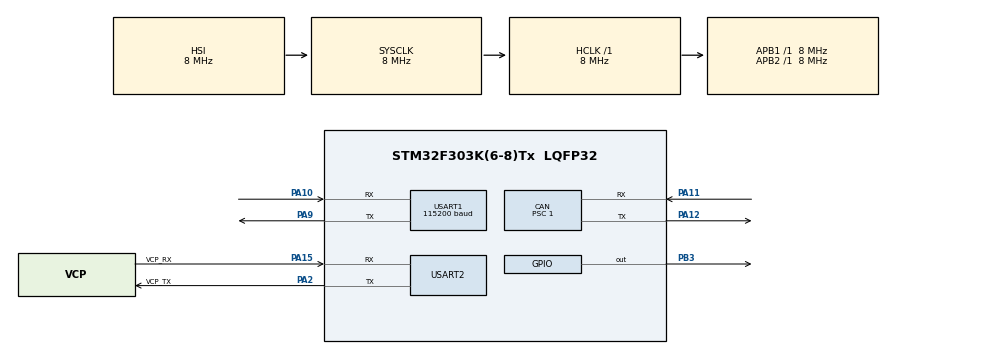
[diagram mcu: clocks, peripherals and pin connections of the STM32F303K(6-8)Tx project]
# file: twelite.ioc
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CAN.ABOM=ENABLE
CAN.BS1=CAN_BS1_5TQ
CAN.BS2=CAN_BS2_2TQ
CAN.CalculateBaudRate=1000000
CAN.CalculateTimeBit=1000
CAN.CalculateTimeQuantum=125.0
CAN.NART=ENABLE
CAN.Prescaler=1
Mcu.Family=STM32F3
Mcu.Name=STM32F303K(6-8)Tx
Mcu.Package=LQFP32
NVIC.CAN_RX0_IRQn=true\:0\:0\:false\:false\:true\:true\:true\:true
NVIC.PriorityGroup=NVIC_PRIORITYGROUP_4
NVIC.USART1_IRQn=true\:0\:0\:false\:false\:true\:true\:true\:true
NVIC.USART2_IRQn=true\:0\:0\:false\:false\:true\:true\:true\:true
PA10.Mode=Asynchronous
PA10.Signal=USART1_RX
PA11.Mode=CAN_Activate
PA11.Signal=CAN_RX
PA12.Mode=CAN_Activate
PA12.Signal=CAN_TX
PA13.GPIO_Label=SWDIO
PA13.Mode=Serial_Wire
PA13.Signal=SYS_JTMS-SWDIO
PA14.GPIO_Label=SWCLK
PA14.Mode=Serial_Wire
PA14.Signal=SYS_JTCK-SWCLK
PA15.GPIO_Label=VCP_RX
PA15.Mode=Asynchronous
PA15.Signal=USART2_RX
PA2.GPIO_Label=VCP_TX
PA2.Mode=Asynchronous
PA2.Signal=USART2_TX
PA9.Mode=Asynchronous
PA9.Signal=USART1_TX
PB3.Signal=GPIO_Output
PF0\ /\ OSC_IN.GPIO_Label=MCO
PF0\ /\ OSC_IN.Mode=HSE-External-Clock-Source
PF0\ /\ OSC_IN.Signal=RCC_OSC_IN
ProjectManager.HeapSize=0x200
ProjectManager.StackSize=0x400
ProjectManager.TargetToolchain=STM32CubeIDE
RCC.AHBFreq_Value=8000000
RCC.APB1Freq_Value=8000000
RCC.APB2Freq_Value=8000000
RCC.CortexFreq_Value=8000000
RCC.HSE_VALUE=8000000
RCC.HSI_VALUE=8000000
RCC.SYSCLKFreq_VALUE=8000000
USART1.BaudRate=115200
USART1.VirtualMode-Asynchronous=VM_ASYNC
USART2.VirtualMode-Asynchronous=VM_ASYNC
board=NUCLEO-F303K8

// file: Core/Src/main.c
/* USER CODE BEGIN Header */
/**
  ******************************************************************************
  * @file           : main.c
  * @brief          : Main program body
  ******************************************************************************
  * @attention
  *
  * Copyright (c) 2026 STMicroelectronics.
  * All rights reserved.
  *
  * This software is licensed under terms that can be found in the LICENSE file
  * in the root directory of this software component.
  * If no LICENSE file comes with this software, it is provided AS-IS.
  *
  ******************************************************************************
  */
/* USER CODE END Header */
#include "main.h"

/* USER CODE BEGIN Includes */
#include <stdio.h>
/* USER CODE END Includes */

CAN_HandleTypeDef hcan;

UART_HandleTypeDef huart1;
UART_HandleTypeDef huart2;

/* USER CODE BEGIN PV */
uint8_t joyX;
uint8_t joyY;
int pre_transmit;
int pre_loop = 0;
uint8_t rx_data;
/* USER CODE END PV */

void SystemClock_Config(void);
static void MX_GPIO_Init(void);
static void MX_USART2_UART_Init(void);
static void MX_USART1_UART_Init(void);
static void MX_CAN_Init(void);

/* USER CODE BEGIN 0 */
void HAL_UART_RxCpltCallback(UART_HandleTypeDef *huart) { //コールバック関数
	if (huart->Instance == USART1) { //受け取った宛名がUART1向けか確認
	        static uint8_t state = 0; // 0:ヘッダー待ち, 1:データ待ち

	                if (rx_data == 0x25) {
	                    state = 1; /* Reset to X-wait state immediately */
	                }
	                else if (state == 1) {
	                    joyX = rx_data;
	                    state = 2; /* Move to Y-wait */
	                }
	                else if (state == 2) {
	                    joyY = rx_data;
	                    state = 0; /* Packet complete, back to header-wait */
	                }

	        // 次の1バイトを待機
	        HAL_UART_Receive_IT(&huart1, &rx_data, 1);
	    }
}

int transmit(){
    CAN_TxHeaderTypeDef TxHeader;
    uint32_t TxMailbox;
    uint8_t TxData[8] = {0};

    if( 0 < HAL_CAN_GetTxMailboxesFreeLevel(&hcan) && HAL_GetTick() - pre_transmit >= 30 ){

        TxHeader.StdId = 0x100;
        TxHeader.RTR = CAN_RTR_DATA;
        TxHeader.IDE = CAN_ID_STD;
        TxHeader.DLC = 8;
        TxHeader.TransmitGlobalTime = DISABLE;

        TxData[0] = joyX;
        TxData[1] = joyY;
        for(int i=2; i<8; i++) TxData[i] = 0;

        if(HAL_CAN_AddTxMessage(&hcan, &TxHeader, TxData, &TxMailbox) != HAL_OK){
        	return -1;
        }
    	HAL_GPIO_TogglePin(GPIOB, GPIO_PIN_3);
        pre_transmit = HAL_GetTick();
    }
    return 0;
}
/* USER CODE END 0 */

int main(void)
{

  /* MCU Configuration--------------------------------------------------------*/

  /* Reset of all peripherals, Initializes the Flash interface and the Systick. */
  HAL_Init();

  /* Configure the system clock */
  SystemClock_Config();

  /* Initialize all configured peripherals */
  MX_GPIO_Init();
  MX_USART2_UART_Init();
  MX_USART1_UART_Init();
  MX_CAN_Init();
  /* USER CODE BEGIN 2 */
  HAL_UART_Receive_IT(&huart1, &rx_data, 1);
  HAL_CAN_Start(&hcan);
  /* USER CODE END 2 */

  /* Infinite loop */
  /* USER CODE BEGIN WHILE */
  while (1)
  {

	  if(HAL_GetTick() - pre_loop > 50){
	  transmit();
	  static char buff[128];
	  int size = snprintf(buff, sizeof(buff), "joyX:%4d joyY:%4d \n\r" ,joyX,joyY);
	  HAL_UART_Transmit_IT(&huart2, (uint8_t*)buff, size);
	  pre_loop = HAL_GetTick();
	  }
    /* USER CODE END WHILE */

  }
}

void SystemClock_Config(void)
{
  RCC_OscInitTypeDef RCC_OscInitStruct = {0};
  RCC_ClkInitTypeDef RCC_ClkInitStruct = {0};
  RCC_PeriphCLKInitTypeDef PeriphClkInit = {0};

  /** Initializes the RCC Oscillators according to the specified parameters
  * in the RCC_OscInitTypeDef structure.
  */
  RCC_OscInitStruct.OscillatorType = RCC_OSCILLATORTYPE_HSI;
  RCC_OscInitStruct.HSIState = RCC_HSI_ON;
  RCC_OscInitStruct.HSICalibrationValue = RCC_HSICALIBRATION_DEFAULT;
  RCC_OscInitStruct.PLL.PLLState = RCC_PLL_NONE;
  if (HAL_RCC_OscConfig(&RCC_OscInitStruct) != HAL_OK)
  {
    Error_Handler();
  }

  /** Initializes the CPU, AHB and APB buses clocks
  */
  RCC_ClkInitStruct.ClockType = RCC_CLOCKTYPE_HCLK|RCC_CLOCKTYPE_SYSCLK
                              |RCC_CLOCKTYPE_PCLK1|RCC_CLOCKTYPE_PCLK2;
  RCC_ClkInitStruct.SYSCLKSource = RCC_SYSCLKSOURCE_HSI;
  RCC_ClkInitStruct.AHBCLKDivider = RCC_SYSCLK_DIV1;
  RCC_ClkInitStruct.APB1CLKDivider = RCC_HCLK_DIV1;
  RCC_ClkInitStruct.APB2CLKDivider = RCC_HCLK_DIV1;

  if (HAL_RCC_ClockConfig(&RCC_ClkInitStruct, FLASH_LATENCY_0) != HAL_OK)
  {
    Error_Handler();
  }
  PeriphClkInit.PeriphClockSelection = RCC_PERIPHCLK_USART1;
  PeriphClkInit.Usart1ClockSelection = RCC_USART1CLKSOURCE_PCLK1;
  if (HAL_RCCEx_PeriphCLKConfig(&PeriphClkInit) != HAL_OK)
  {
    Error_Handler();
  }
}

static void MX_CAN_Init(void)
{

  hcan.Instance = CAN;
  hcan.Init.Prescaler = 1;
  hcan.Init.Mode = CAN_MODE_NORMAL;
  hcan.Init.SyncJumpWidth = CAN_SJW_1TQ;
  hcan.Init.TimeSeg1 = CAN_BS1_5TQ;
  hcan.Init.TimeSeg2 = CAN_BS2_2TQ;
  hcan.Init.TimeTriggeredMode = DISABLE;
  hcan.Init.AutoBusOff = ENABLE;
  hcan.Init.AutoWakeUp = DISABLE;
  hcan.Init.AutoRetransmission = ENABLE;
  hcan.Init.ReceiveFifoLocked = DISABLE;
  hcan.Init.TransmitFifoPriority = DISABLE;
  if (HAL_CAN_Init(&hcan) != HAL_OK)
  {
    Error_Handler();
  }

}

static void MX_USART1_UART_Init(void)
{

  huart1.Instance = USART1;
  huart1.Init.BaudRate = 115200;
  huart1.Init.WordLength = UART_WORDLENGTH_8B;
  huart1.Init.StopBits = UART_STOPBITS_1;
  huart1.Init.Parity = UART_PARITY_NONE;
  huart1.Init.Mode = UART_MODE_TX_RX;
  huart1.Init.HwFlowCtl = UART_HWCONTROL_NONE;
  huart1.Init.OverSampling = UART_OVERSAMPLING_16;
  huart1.Init.OneBitSampling = UART_ONE_BIT_SAMPLE_DISABLE;
  huart1.AdvancedInit.AdvFeatureInit = UART_ADVFEATURE_NO_INIT;
  if (HAL_UART_Init(&huart1) != HAL_OK)
  {
    Error_Handler();
  }

}

static void MX_USART2_UART_Init(void)
{

  huart2.Instance = USART2;
  huart2.Init.BaudRate = 38400;
  huart2.Init.WordLength = UART_WORDLENGTH_8B;
  huart2.Init.StopBits = UART_STOPBITS_1;
  huart2.Init.Parity = UART_PARITY_NONE;
  huart2.Init.Mode = UART_MODE_TX_RX;
  huart2.Init.HwFlowCtl = UART_HWCONTROL_NONE;
  huart2.Init.OverSampling = UART_OVERSAMPLING_16;
  huart2.Init.OneBitSampling = UART_ONE_BIT_SAMPLE_DISABLE;
  huart2.AdvancedInit.AdvFeatureInit = UART_ADVFEATURE_NO_INIT;
  if (HAL_UART_Init(&huart2) != HAL_OK)
  {
    Error_Handler();
  }

}

static void MX_GPIO_Init(void)
{
  GPIO_InitTypeDef GPIO_InitStruct = {0};

  /* GPIO Ports Clock Enable */
  __HAL_RCC_GPIOF_CLK_ENABLE();
  __HAL_RCC_GPIOA_CLK_ENABLE();
  __HAL_RCC_GPIOB_CLK_ENABLE();

  /*Configure GPIO pin Output Level */
  HAL_GPIO_WritePin(GPIOB, GPIO_PIN_3, GPIO_PIN_RESET);

  /*Configure GPIO pin : PB3 */
  GPIO_InitStruct.Pin = GPIO_PIN_3;
  GPIO_InitStruct.Mode = GPIO_MODE_OUTPUT_PP;
  GPIO_InitStruct.Pull = GPIO_NOPULL;
  GPIO_InitStruct.Speed = GPIO_SPEED_FREQ_LOW;
  HAL_GPIO_Init(GPIOB, &GPIO_InitStruct);

}

void Error_Handler(void)
{
  __disable_irq();
  while (1)
  {
  }
}
